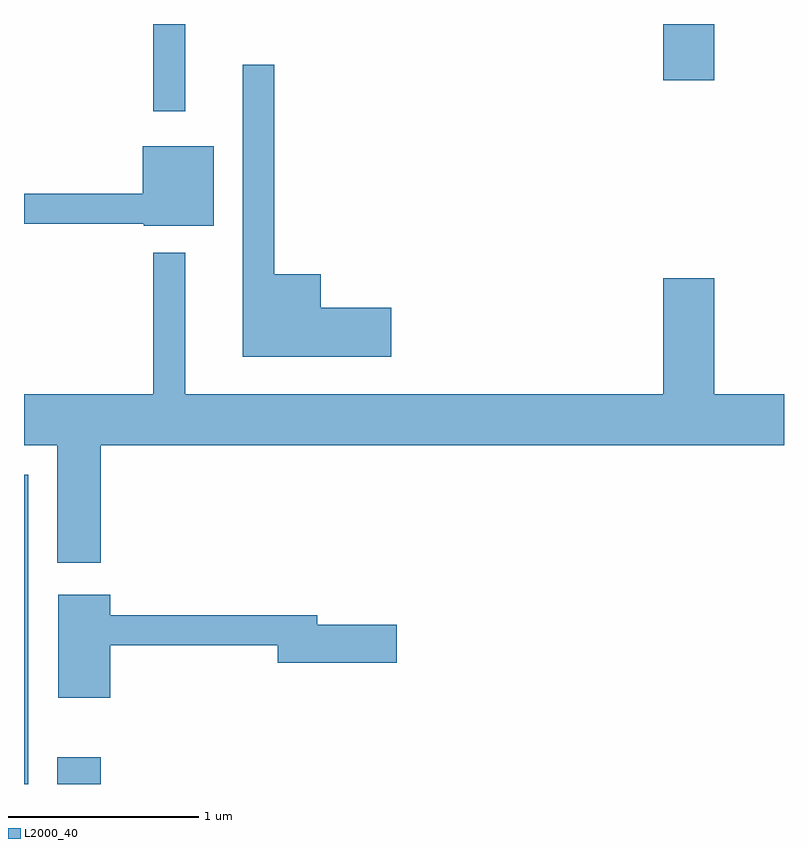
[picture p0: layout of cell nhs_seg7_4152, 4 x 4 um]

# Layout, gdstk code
import gdstk
lib = gdstk.Library(unit=1e-6, precision=1e-09)
def R(c, l, rs):  # rectangles x0, y0, x1, y1
    for r in rs: c.add(gdstk.rectangle(r[:2], r[2:], *l))
def P(c, l, *ps):  # polygons
    for p in ps: c.add(gdstk.Polygon(p, *l))
L2000_40 = (2000, 40)

nhs_seg7_4152 = lib.new_cell('nhs_seg7_4152')
R(nhs_seg7_4152, L2000_40, [(311.611,1770.252,311.634,1771.879), (311.786,1770.252,312.014,1770.394), (312.291,1773.793,312.459,1774.252), (314.976,1773.956,315.244,1774.252)])
P(nhs_seg7_4152, L2000_40, [(313.544,1772.759),(313.174,1772.759),(313.174,1772.934),(312.929,1772.934),(312.929,1774.038),(312.761,1774.038),(312.761,1772.501),(313.544,1772.501)],
  [(312.609,1773.609),(312.236,1773.609),(312.236,1773.359),(311.611,1773.359),(311.611,1773.201),(312.24,1773.201),(312.24,1773.191),(312.609,1773.191)],
  [(312.014,1772.036),(315.611,1772.036),(315.611,1772.304),(315.244,1772.304),(315.244,1772.914),(314.976,1772.914),(314.976,1772.304),(312.459,1772.304),(312.459,1773.048),(312.291,1773.048),(312.291,1772.304),(311.611,1772.304),(311.611,1772.036),(311.786,1772.036),(311.786,1771.416),(312.014,1771.416)],
  [(312.064,1770.981),(312.946,1770.981),(312.946,1770.891),(313.574,1770.891),(313.574,1771.089),(313.154,1771.089),(313.154,1771.139),(312.064,1771.139),(312.064,1771.249),(311.791,1771.249),(311.791,1770.706),(312.064,1770.706)])

lib.write_gds('nhs_seg7_4152.gds')
